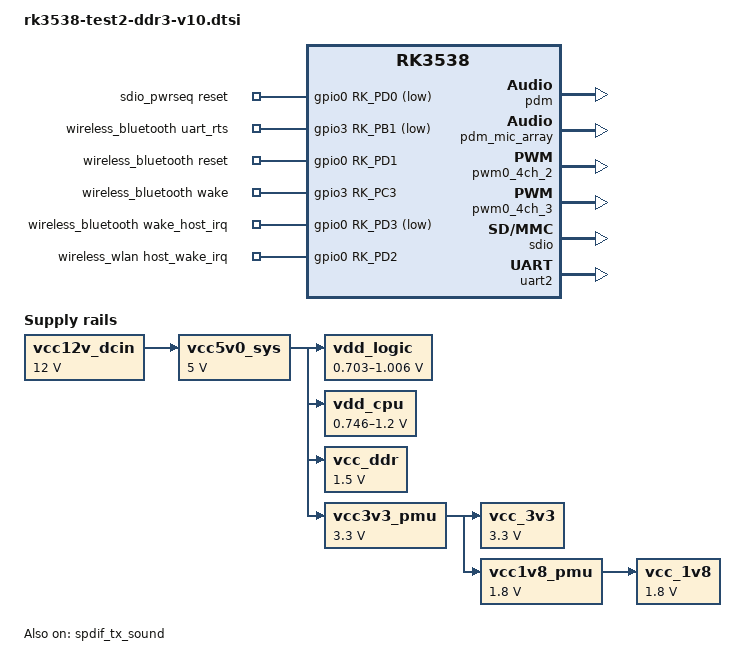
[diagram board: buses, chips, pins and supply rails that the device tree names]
// SPDX-License-Identifier: (GPL-2.0+ OR MIT)
/*
 * Copyright (c) 2025 Rockchip Electronics Co., Ltd.
 *
 */

/dts-v1/;

#include "rk3538.dtsi"
#include "rk3538-evb.dtsi"
#include "rk3538-evb-input-keymap.dtsi"

/{
	sdio_pwrseq: sdio-pwrseq {
		compatible = "mmc-pwrseq-simple";
		pinctrl-names = "default";
		pinctrl-0 = <&wifi_enable_h &clk_32km0_pins>;
		post-power-on-delay-ms = <200>;
		reset-gpios = <&gpio0 RK_PD0 GPIO_ACTIVE_LOW>;
		status = "okay";
	};

	vcc12v_dcin: vcc12v-dcin {
		compatible = "regulator-fixed";
		regulator-name = "vcc12v_dcin";
		regulator-always-on;
		regulator-boot-on;
		regulator-min-microvolt = <12000000>;
		regulator-max-microvolt = <12000000>;
	};

	vcc5v0_sys: vcc5v0-sys {
		compatible = "regulator-fixed";
		regulator-name = "vcc5v0_sys";
		regulator-always-on;
		regulator-boot-on;
		regulator-min-microvolt = <5000000>;
		regulator-max-microvolt = <5000000>;
		vin-supply = <&vcc12v_dcin>;
	};

	vdd_logic: vdd-logc {
		compatible = "pwm-regulator";
		pwms = <&pwm0_4ch_2 0 25000 1>;
		regulator-name = "vdd_logic";
		regulator-init-microvolt = <901000>;
		regulator-min-microvolt = <703000>;
		regulator-max-microvolt = <1006000>;
		regulator-settling-time-up-us = <250>;
		regulator-always-on;
		regulator-boot-on;
		pwm-supply = <&vcc5v0_sys>;
	};

	vdd_cpu: vdd-cpu {
		compatible = "pwm-regulator";
		pwms = <&pwm0_4ch_3 0 25000 1>;
		regulator-name = "vdd_cpu";
		regulator-init-microvolt = <953000>;
		regulator-min-microvolt = <746000>;
		regulator-max-microvolt = <1200000>;
		regulator-settling-time-up-us = <250>;
		regulator-always-on;
		regulator-boot-on;
		pwm-supply = <&vcc5v0_sys>;
	};

	vcc_ddr: vcc-ddr {
		compatible = "regulator-fixed";
		regulator-name = "vcc_ddr";
		regulator-min-microvolt = <1500000>;
		regulator-max-microvolt = <1500000>;
		enable-active-low;
		regulator-boot-on;
		vin-supply = <&vcc5v0_sys>;
	};

	vcc3v3_pmu: vcc3v3-pmu {
		compatible = "regulator-fixed";
		regulator-name = "vcc3v3_pmu";
		regulator-min-microvolt = <3300000>;
		regulator-max-microvolt = <3300000>;
		enable-active-low;
		regulator-boot-on;
		vin-supply = <&vcc5v0_sys>;
	};

	vcc_3v3: vcc_3v3 {
		compatible = "regulator-fixed";
		regulator-name = "vcc_3v3";
		regulator-min-microvolt = <3300000>;
		regulator-max-microvolt = <3300000>;
		enable-active-low;
		regulator-boot-on;
		vin-supply = <&vcc3v3_pmu>;
	};

	vcc1v8_pmu: vcc1v8-pmu {
		compatible = "regulator-fixed";
		regulator-name = "vcc1v8_pmu";
		regulator-min-microvolt = <1800000>;
		regulator-max-microvolt = <1800000>;
		enable-active-low;
		regulator-boot-on;
		vin-supply = <&vcc3v3_pmu>;
	};

	vcc_1v8: vcc-1v8 {
		compatible = "regulator-fixed";
		regulator-name = "vcc_1v8";
		regulator-min-microvolt = <1800000>;
		regulator-max-microvolt = <1800000>;
		enable-active-low;
		regulator-boot-on;
		vin-supply = <&vcc1v8_pmu>;
	};

	wireless_bluetooth: wireless-bluetooth {
		compatible = "bluetooth-platdata";
		uart_rts_gpios = <&gpio3 RK_PB1 GPIO_ACTIVE_LOW>;
		pinctrl-names = "default", "rts_gpio";
		pinctrl-0 = <&uart2m0_rtsn_pins>;
		pinctrl-1 = <&uart2m0_gpios>;
		BT,reset_gpio    = <&gpio0 RK_PD1 GPIO_ACTIVE_HIGH>;
		BT,wake_gpio     = <&gpio3 RK_PC3 GPIO_ACTIVE_HIGH>;
		BT,wake_host_irq = <&gpio0 RK_PD3 GPIO_ACTIVE_LOW>;
		status = "okay";
	};

	wireless_wlan: wireless-wlan {
		compatible = "wlan-platdata";
		wifi_chip_type = "ap6275s";
		pinctrl-names = "default";
		pinctrl-0 = <&wifi_host_wake_irq>;
		WIFI,host_wake_irq = <&gpio0 RK_PD2 GPIO_ACTIVE_HIGH>;
		status = "okay";
	};
};

&cpu0 {
	cpu-supply = <&vdd_cpu>;
};

&cpu2 {
	cpu-supply = <&vdd_cpu>;
};

&gpu {
	mali-supply = <&vdd_logic>;
};

&pdm {
	pinctrl-0 = <&pdmm0_sdi1_pins>;
	pinctrl-1 = <&pdmm0_clk0_idle>;
	pinctrl-2 = <&pdmm0_clk0_pins>;
	rockchip,path-map = <1 0 2 3>;
	status = "okay";
};

&pdm_mic_array {
	status = "okay";
};

&pinctrl {
	sdio-pwrseq {
		wifi_enable_h: wifi-enable-h {
			rockchip,pins = <0 RK_PD0 RK_FUNC_GPIO &pcfg_pull_none>;
		};
	};

	wireless-bluetooth {
		uart2m0_gpios: uart2m0-gpios {
			rockchip,pins = <3 RK_PB1 RK_FUNC_GPIO &pcfg_pull_none>;
		};
	};

	wireless-wlan {
		wifi_host_wake_irq: wifi-host-wake-irq {
			rockchip,pins = <0 RK_PD2 RK_FUNC_GPIO &pcfg_pull_down>;
		};
	};
};

&pwm0_4ch_2 {
	status = "okay";
};

&pwm0_4ch_3 {
	pinctrl-0 = <&pwm0m1_ch3_pins>;
	status = "okay";
};

&sdio {
	mmc-pwrseq = <&sdio_pwrseq>;
	status = "okay";
};

&spdif_tx_sound {
	status = "okay";
};

&uart2 {
	status = "okay";
	pinctrl-names = "default";
	pinctrl-0 = <&uart2m0_xfer_pins &uart2m0_ctsn_pins>;
};
